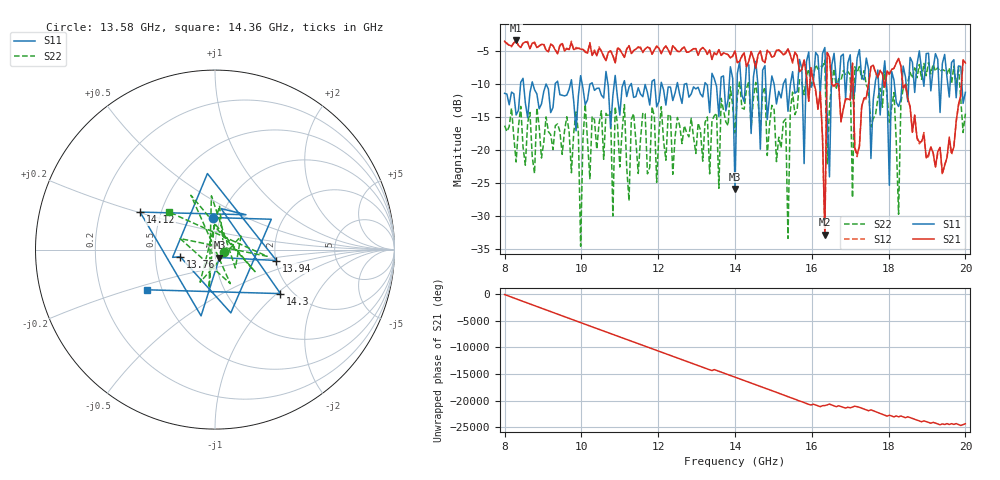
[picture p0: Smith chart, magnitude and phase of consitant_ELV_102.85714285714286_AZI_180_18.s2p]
! 10/29/2026 5:28:12 PM
! C:\ANRITSUVNA\TEMP\TEMP.S2P
! CHANNEL.1
! TR.MEASUREMENT
! RAW.DATA
# HZ S RI R 50.0
! FREQ.HZ  S11RE  S11IM  S21RE  S21IM  S12RE  S12IM  S22RE  S22IM
!; PortSelection: Port_12
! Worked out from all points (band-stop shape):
!   201 points, 8 GHz to 20 GHz, reference 50 ohm
!   highest |S21| = -3.44 dB at 8.3 GHz (marker M1); lowest = -32.8 dB at 16.34 GHz (marker M2)
!   |S21| within 3 dB of the highest: start of sweep to 10.63 GHz; 10.89 GHz to 14.05 GHz (3.158 GHz wide, 25.3 % of centre) (the widest 2 of 12)
!   lowest |S11| = -25.9 dB at 14 GHz (marker M3), VSWR 1.11, Z = 52.3 - j4.63 ohm
!   |S11| at or under -10 dB: start of sweep to 8.417 GHz; 8.735 GHz to 9.319 GHz (583.8 MHz wide, 6.47 % of centre); 11.3 GHz to 11.83 GHz (531.7 MHz wide, 4.6 % of centre) (the widest 3 of 45)
!   |S22| runs from -34.6 to -6.4 dB; largest |S21 - S12| = 0.32
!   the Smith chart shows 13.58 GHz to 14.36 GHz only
!   S11 on the Smith chart (normalised r, x): 13.58 GHz: 0.92, +0.34; 13.76 GHz: 0.67, -0.06; 13.94 GHz: 2.02, -0.28; 14.12 GHz: 0.38, +0.20; 14.3 GHz: 1.74, -1.06; 14.36 GHz: 0.41, -0.23
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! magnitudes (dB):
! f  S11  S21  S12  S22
! 8 GHz  -11.4  -3.5  -3.7  -16.3
! 8.3 GHz  -14.7  -3.4  -3.4  -21.8
! 10.04 GHz  -10.6  -4.8  -4.8  -18.4
! 12.02 GHz  -12.6  -4.6  -4.6  -17.3
! 13.58 GHz  -14.9  -4.8  -4.8  -25.8
! 13.76 GHz  -14.1  -5.4  -5.5  -15.7
! 13.94 GHz  -9.2  -5.8  -5.9  -13.4
! 14 GHz  -25.9  -5.0  -5.0  -17.4
! 14.12 GHz  -6.6  -6.6  -6.6  -9.6
! 14.3 GHz  -7.1  -7.4  -7.3  -10.7
! 14.36 GHz  -7.1  -6.6  -6.5  -9.6
! 15.38 GHz  -14.2  -4.7  -4.8  -33.4
! 15.5 GHz  -8.2  -6.7  -6.9  -11.3
! 16.04 GHz  -9.9  -9.6  -9.7  -8.9
! 16.34 GHz  -4.5  -32.8  -33.1  -6.4
! 16.4 GHz  -14.6  -5.3  -5.3  -22.2
! 17.9 GHz  -6.5  -10.5  -10.6  -8.0
! 18.02 GHz  -25.3  -8.5  -8.6  -15.8
! 18.08 GHz  -8.1  -7.8  -7.8  -13.6
! 18.26 GHz  -13.4  -6.1  -6.2  -29.7
! 19.4 GHz  -6.9  -23.5  -23.8  -7.8
! 20 GHz  -11.3  -6.8  -6.8  -14.5
